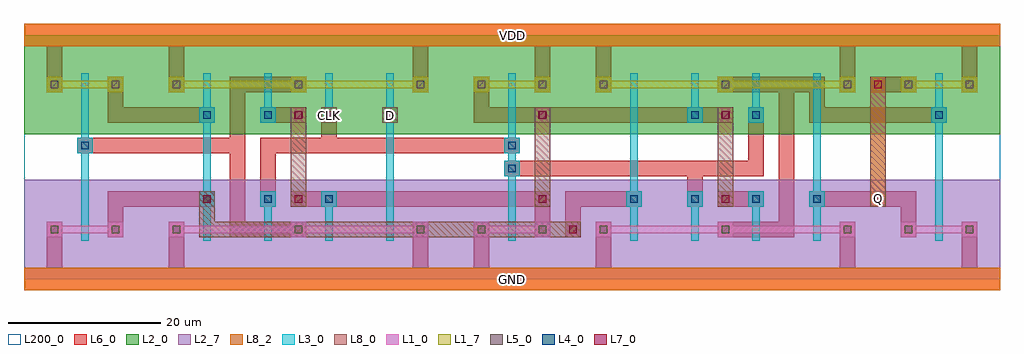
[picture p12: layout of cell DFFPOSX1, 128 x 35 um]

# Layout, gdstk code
import gdstk
lib = gdstk.Library(unit=1e-6, precision=1e-09)
def R(c, l, rs):  # rectangles x0, y0, x1, y1
    for r in rs: c.add(gdstk.rectangle(r[:2], r[2:], *l))
def A(c, l, x, y, w, h, nx, ny, dx, dy):  # array of equal rectangles
    R(c, l, [(x+i*dx, y+j*dy, x+i*dx+w, y+j*dy+h) for i in range(nx) for j in range(ny)])
def P(c, l, *ps):  # polygons
    for p in ps: c.add(gdstk.Polygon(p, *l))
L1_0 = (1, 0)
L1_7 = (1, 7)
L2_0 = (2, 0)
L2_7 = (2, 7)
L3_0 = (3, 0)
L4_0 = (4, 0)
L5_0 = (5, 0)
L6_0 = (6, 0)
L7_0 = (7, 0)
L8_0 = (8, 0)
L8_2 = (8, 2)
L200_0 = (200, 0)

dffposx1 = lib.new_cell('DFFPOSX1')
P(dffposx1, L1_0, [(3,5.5),(3,7.5),(5,7.5),(5,7),(11,7),(11,7.5),(13,7.5),(13,5.5),(11,5.5),(11,6),(5,6),(5,5.5)],
  [(19,5.5),(19,7.5),(21,7.5),(21,7),(35,7),(35,7.5),(37,7.5),(37,7),(51,7),(51,7.5),(53,7.5),(53,5.5),(51,5.5),(51,6),(37,6),(37,5.5),(35,5.5),(35,6),(21,6),(21,5.5)],
  [(59,5.5),(59,7.5),(61,7.5),(61,7),(67,7),(67,7.5),(69,7.5),(69,5.5),(67,5.5),(67,6),(61,6),(61,5.5)],
  [(75,5.5),(75,7.5),(77,7.5),(77,7),(91,7),(91,7.5),(93,7.5),(93,7),(107,7),(107,7.5),(109,7.5),(109,5.5),(107,5.5),(107,6),(93,6),(93,5.5),(91,5.5),(91,6),(77,6),(77,5.5)],
  [(115,5.5),(115,7.5),(117,7.5),(117,7),(123,7),(123,7.5),(125,7.5),(125,5.5),(123,5.5),(123,6),(117,6),(117,5.5)])
P(dffposx1, L1_7, [(3,24.5),(3,26.5),(5,26.5),(5,26),(11,26),(11,26.5),(13,26.5),(13,24.5),(11,24.5),(11,25),(5,25),(5,24.5)],
  [(19,24.5),(19,26.5),(21,26.5),(21,26),(35,26),(35,26.5),(37,26.5),(37,26),(51,26),(51,26.5),(53,26.5),(53,24.5),(51,24.5),(51,25),(37,25),(37,24.5),(35,24.5),(35,25),(21,25),(21,24.5)],
  [(59,24.5),(59,26.5),(61,26.5),(61,26),(67,26),(67,26.5),(69,26.5),(69,24.5),(67,24.5),(67,25),(61,25),(61,24.5)],
  [(75,24.5),(75,26.5),(77,26.5),(77,26),(91,26),(91,26.5),(93,26.5),(93,26),(107,26),(107,26.5),(109,26.5),(109,24.5),(107,24.5),(107,25),(93,25),(93,24.5),(91,24.5),(91,25),(77,25),(77,24.5)],
  [(115,24.5),(115,26.5),(117,26.5),(117,26),(123,26),(123,26.5),(125,26.5),(125,24.5),(123,24.5),(123,25),(117,25),(117,24.5)])
R(dffposx1, L2_0, [(0,19,128,32)])
R(dffposx1, L2_7, [(0,0,128,13)])
P(dffposx1, L3_0, [(31.5,5),(31.5,9.5),(31,9.5),(31,11.5),(33,11.5),(33,9.5),(32.5,9.5),(32.5,5)],
  [(39.5,5),(39.5,9.5),(39,9.5),(39,11.5),(41,11.5),(41,9.5),(40.5,9.5),(40.5,5)],
  [(87.5,5),(87.5,9.5),(87,9.5),(87,11.5),(89,11.5),(89,9.5),(88.5,9.5),(88.5,5)],
  [(95.5,5),(95.5,9.5),(95,9.5),(95,11.5),(97,11.5),(97,9.5),(96.5,9.5),(96.5,5)],
  [(7.5,5),(7.5,16.5),(7,16.5),(7,18.5),(7.5,18.5),(7.5,27),(8.5,27),(8.5,18.5),(9,18.5),(9,16.5),(8.5,16.5),(8.5,5)],
  [(23.5,5),(23.5,9.5),(23,9.5),(23,11.5),(23.5,11.5),(23.5,20.5),(23,20.5),(23,22.5),(23.5,22.5),(23.5,27),(24.5,27),(24.5,22.5),(25,22.5),(25,20.5),(24.5,20.5),(24.5,11.5),(25,11.5),(25,9.5),(24.5,9.5),(24.5,5)],
  [(31,20.5),(31,22.5),(31.5,22.5),(31.5,27),(32.5,27),(32.5,22.5),(33,22.5),(33,20.5)],
  [(39,20.5),(39,22.5),(39.5,22.5),(39.5,27),(40.5,27),(40.5,22.5),(41,22.5),(41,20.5)],
  [(47.5,5),(47.5,20.5),(47,20.5),(47,22.5),(47.5,22.5),(47.5,27),(48.5,27),(48.5,22.5),(49,22.5),(49,20.5),(48.5,20.5),(48.5,5)],
  [(63.5,5),(63.5,13.5),(63,13.5),(63,15.5),(63.5,15.5),(63.5,16.5),(63,16.5),(63,18.5),(63.5,18.5),(63.5,27),(64.5,27),(64.5,18.5),(65,18.5),(65,16.5),(64.5,16.5),(64.5,15.5),(65,15.5),(65,13.5),(64.5,13.5),(64.5,5)],
  [(79.5,5),(79.5,9.5),(79,9.5),(79,11.5),(79.5,11.5),(79.5,27),(80.5,27),(80.5,11.5),(81,11.5),(81,9.5),(80.5,9.5),(80.5,5)],
  [(87,20.5),(87,22.5),(87.5,22.5),(87.5,27),(88.5,27),(88.5,22.5),(89,22.5),(89,20.5)],
  [(95,20.5),(95,22.5),(95.5,22.5),(95.5,27),(96.5,27),(96.5,22.5),(97,22.5),(97,20.5)],
  [(103.5,5),(103.5,9.5),(103,9.5),(103,11.5),(103.5,11.5),(103.5,27),(104.5,27),(104.5,11.5),(105,11.5),(105,9.5),(104.5,9.5),(104.5,5)],
  [(119.5,5),(119.5,20.5),(119,20.5),(119,22.5),(119.5,22.5),(119.5,27),(120.5,27),(120.5,22.5),(121,22.5),(121,20.5),(120.5,20.5),(120.5,5)])
A(dffposx1, L4_0, 23.5, 10, 1, 1, 3, 1, 8, 0)
A(dffposx1, L4_0, 79.5, 10, 1, 1, 4, 1, 8, 0)
A(dffposx1, L4_0, 23.5, 21, 1, 1, 4, 1, 8, 0)
R(dffposx1, L4_0, [(63.5,14,64.5,15), (7.5,17,8.5,18), (63.5,17,64.5,18), (87.5,21,88.5,22), (95.5,21,96.5,22), (119.5,21,120.5,22)])
A(dffposx1, L5_0, 3.5, 6, 1, 1, 3, 2, 8, 19)
A(dffposx1, L5_0, 51.5, 6, 1, 1, 4, 2, 8, 19)
A(dffposx1, L5_0, 107.5, 6, 1, 1, 3, 2, 8, 19)
R(dffposx1, L5_0, [(35.5,6,36.5,7), (91.5,6,92.5,7), (35.5,25,36.5,26), (91.5,25,92.5,26)])
R(dffposx1, L6_0, [(91,9.5,97,11.5), (31,20.5,37,22.5), (47,20.5,49,22.5), (111,24.5,117,26.5)])
P(dffposx1, L6_0, [(0,-1.5),(0,1.5),(3,1.5),(3,7.5),(5,7.5),(5,1.5),(19,1.5),(19,7.5),(21,7.5),(21,1.5),(51,1.5),(51,7.5),(53,7.5),(53,1.5),(59,1.5),(59,7.5),(61,7.5),(61,1.5),(75,1.5),(75,7.5),(77,7.5),(77,1.5),(107,1.5),(107,7.5),(109,7.5),(109,1.5),(123,1.5),(123,7.5),(125,7.5),(125,1.5),(128,1.5),(128,-1.5)],
  [(11,5.5),(11,11.5),(25,11.5),(25,9.5),(13,9.5),(13,5.5)],
  [(67,5.5),(67,9.5),(35,9.5),(35,11.5),(69,11.5),(69,5.5)],
  [(71,5.5),(71,11.5),(81,11.5),(81,9.5),(73,9.5),(73,5.5)],
  [(115,5.5),(115,9.5),(103,9.5),(103,11.5),(117,11.5),(117,5.5)],
  [(31,9.5),(31,18.5),(39,18.5),(39,22.5),(41,22.5),(41,18.5),(65,18.5),(65,16.5),(33,16.5),(33,9.5)],
  [(87,9.5),(87,13.5),(63,13.5),(63,15.5),(95,15.5),(95,22.5),(97,22.5),(97,13.5),(89,13.5),(89,9.5)],
  [(11,20.5),(11,26.5),(13,26.5),(13,22.5),(25,22.5),(25,20.5)],
  [(27,5.5),(27,16.5),(7,16.5),(7,18.5),(27,18.5),(27,26.5),(37,26.5),(37,24.5),(29,24.5),(29,7.5),(37,7.5),(37,5.5)],
  [(59,20.5),(59,26.5),(61,26.5),(61,22.5),(93,22.5),(93,20.5)],
  [(91,5.5),(91,7.5),(99,7.5),(99,24.5),(91,24.5),(91,26.5),(105,26.5),(105,22.5),(121,22.5),(121,20.5),(103,20.5),(103,24.5),(101,24.5),(101,5.5)],
  [(3,24.5),(3,30.5),(0,30.5),(0,33.5),(128,33.5),(128,30.5),(125,30.5),(125,24.5),(123,24.5),(123,30.5),(109,30.5),(109,24.5),(107,24.5),(107,30.5),(77,30.5),(77,24.5),(75,24.5),(75,30.5),(69,30.5),(69,24.5),(67,24.5),(67,30.5),(53,30.5),(53,24.5),(51,24.5),(51,30.5),(21,30.5),(21,24.5),(19,24.5),(19,30.5),(5,30.5),(5,24.5)])
R(dffposx1, L7_0, [(71.5,6,72.5,7), (23.5,10,24.5,11), (35.5,10,36.5,11), (67.5,10,68.5,11), (91.5,10,92.5,11), (111.5,10,112.5,11), (35.5,21,36.5,22), (39.5,21,40.5,22), (47.5,21,48.5,22), (67.5,21,68.5,22), (91.5,21,92.5,22), (111.5,25,112.5,26)])
R(dffposx1, L8_0, [(35,9.5,37,22.5), (67,9.5,69,22.5), (91,9.5,93,22.5), (111,9.5,113,26.5), (39,20.5,41,22.5), (47,20.5,49,22.5)])
P(dffposx1, L8_0, [(23,5.5),(23,11.5),(25,11.5),(25,7.5),(73,7.5),(73,5.5)])
R(dffposx1, L8_2, [(111,9.5,113,26.5), (39,20.5,41,22.5), (47,20.5,49,22.5)])
R(dffposx1, L200_0, [(0,0,128,32)])
dffposx1.add(gdstk.FlexPath([(0,32),(128,32)], 3, ends="flush", simple_path=True, layer=8, datatype=2))  # L8_2
dffposx1.add(gdstk.FlexPath([(0,0),(128,0)], 3, ends="flush", simple_path=True, layer=8, datatype=2))  # L8_2
dffposx1.add(gdstk.Label('GND', (64,0), layer=6, texttype=1))
dffposx1.add(gdstk.Label('VDD', (64,32), layer=6, texttype=1))
dffposx1.add(gdstk.Label('D', (48,21.5), layer=8, texttype=1))
dffposx1.add(gdstk.Label('CLK', (40,21.5), layer=8, texttype=1))
dffposx1.add(gdstk.Label('Q', (112,10.5), layer=8, texttype=1))

lib.write_gds('DFFPOSX1.gds')
